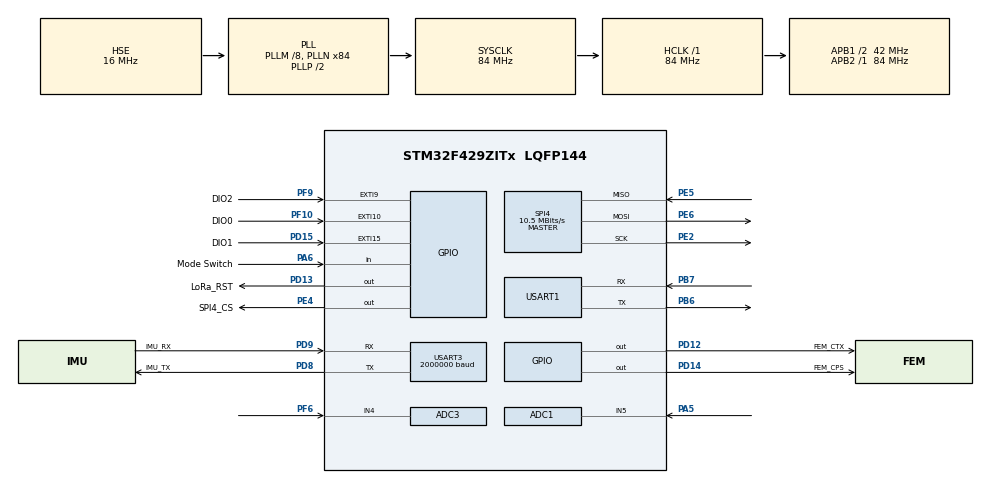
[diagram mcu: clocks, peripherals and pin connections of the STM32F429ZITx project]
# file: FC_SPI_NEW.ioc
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ADC1.Channel-1\#ChannelRegularConversion=ADC_CHANNEL_5
ADC1.ContinuousConvMode=ENABLE
ADC1.NbrOfConversionFlag=1
ADC1.Rank-1\#ChannelRegularConversion=1
ADC1.SamplingTime-1\#ChannelRegularConversion=ADC_SAMPLETIME_3CYCLES
ADC1.master=1
ADC3.Channel-0\#ChannelRegularConversion=ADC_CHANNEL_4
ADC3.NbrOfConversionFlag=1
ADC3.Rank-0\#ChannelRegularConversion=1
ADC3.Resolution=ADC_RESOLUTION_10B
ADC3.SamplingTime-0\#ChannelRegularConversion=ADC_SAMPLETIME_3CYCLES
Dma.Request0=USART3_RX
Dma.Request1=USART3_TX
Dma.Request2=USART1_RX
Dma.Request3=USART1_TX
Dma.Request4=SPI4_RX
Dma.Request5=SPI4_TX
Dma.SPI4_RX.4.Direction=DMA_PERIPH_TO_MEMORY
Dma.SPI4_RX.4.FIFOMode=DMA_FIFOMODE_DISABLE
Dma.SPI4_RX.4.Instance=DMA2_Stream0
Dma.SPI4_RX.4.MemDataAlignment=DMA_MDATAALIGN_BYTE
Dma.SPI4_RX.4.MemInc=DMA_MINC_ENABLE
Dma.SPI4_RX.4.Mode=DMA_NORMAL
Dma.SPI4_RX.4.PeriphDataAlignment=DMA_PDATAALIGN_BYTE
Dma.SPI4_RX.4.PeriphInc=DMA_PINC_DISABLE
Dma.SPI4_RX.4.Priority=DMA_PRIORITY_LOW
Dma.SPI4_TX.5.Direction=DMA_MEMORY_TO_PERIPH
Dma.SPI4_TX.5.FIFOMode=DMA_FIFOMODE_DISABLE
Dma.SPI4_TX.5.Instance=DMA2_Stream1
Dma.SPI4_TX.5.MemDataAlignment=DMA_MDATAALIGN_BYTE
Dma.SPI4_TX.5.MemInc=DMA_MINC_ENABLE
Dma.SPI4_TX.5.Mode=DMA_NORMAL
Dma.SPI4_TX.5.PeriphDataAlignment=DMA_PDATAALIGN_BYTE
Dma.SPI4_TX.5.PeriphInc=DMA_PINC_DISABLE
Dma.SPI4_TX.5.Priority=DMA_PRIORITY_HIGH
Dma.USART1_RX.2.Direction=DMA_PERIPH_TO_MEMORY
Dma.USART1_RX.2.FIFOMode=DMA_FIFOMODE_DISABLE
Dma.USART1_RX.2.Instance=DMA2_Stream2
Dma.USART1_RX.2.MemDataAlignment=DMA_MDATAALIGN_BYTE
Dma.USART1_RX.2.MemInc=DMA_MINC_ENABLE
Dma.USART1_RX.2.Mode=DMA_NORMAL
Dma.USART1_RX.2.PeriphDataAlignment=DMA_PDATAALIGN_BYTE
Dma.USART1_RX.2.PeriphInc=DMA_PINC_DISABLE
Dma.USART1_RX.2.Priority=DMA_PRIORITY_LOW
Dma.USART1_TX.3.Direction=DMA_MEMORY_TO_PERIPH
Dma.USART1_TX.3.FIFOMode=DMA_FIFOMODE_DISABLE
Dma.USART1_TX.3.Instance=DMA2_Stream7
Dma.USART1_TX.3.MemDataAlignment=DMA_MDATAALIGN_BYTE
Dma.USART1_TX.3.MemInc=DMA_MINC_ENABLE
Dma.USART1_TX.3.Mode=DMA_NORMAL
Dma.USART1_TX.3.PeriphDataAlignment=DMA_PDATAALIGN_BYTE
Dma.USART1_TX.3.PeriphInc=DMA_PINC_DISABLE
Dma.USART1_TX.3.Priority=DMA_PRIORITY_LOW
Dma.USART3_RX.0.Direction=DMA_PERIPH_TO_MEMORY
Dma.USART3_RX.0.FIFOMode=DMA_FIFOMODE_DISABLE
Dma.USART3_RX.0.Instance=DMA1_Stream1
Dma.USART3_RX.0.MemDataAlignment=DMA_MDATAALIGN_BYTE
Dma.USART3_RX.0.MemInc=DMA_MINC_ENABLE
Dma.USART3_RX.0.Mode=DMA_NORMAL
Dma.USART3_RX.0.PeriphDataAlignment=DMA_PDATAALIGN_BYTE
Dma.USART3_RX.0.PeriphInc=DMA_PINC_DISABLE
Dma.USART3_RX.0.Priority=DMA_PRIORITY_LOW
Dma.USART3_TX.1.Direction=DMA_MEMORY_TO_PERIPH
Dma.USART3_TX.1.FIFOMode=DMA_FIFOMODE_DISABLE
Dma.USART3_TX.1.Instance=DMA1_Stream3
Dma.USART3_TX.1.MemDataAlignment=DMA_MDATAALIGN_BYTE
Dma.USART3_TX.1.MemInc=DMA_MINC_ENABLE
Dma.USART3_TX.1.Mode=DMA_NORMAL
Dma.USART3_TX.1.PeriphDataAlignment=DMA_PDATAALIGN_BYTE
Dma.USART3_TX.1.PeriphInc=DMA_PINC_DISABLE
Dma.USART3_TX.1.Priority=DMA_PRIORITY_LOW
Mcu.Family=STM32F4
Mcu.Name=STM32F429ZITx
Mcu.Package=LQFP144
NVIC.DMA1_Stream1_IRQn=true\:0\:0\:false\:false\:true\:false\:true\:true
NVIC.DMA1_Stream3_IRQn=true\:0\:0\:false\:false\:true\:false\:true\:true
NVIC.DMA2_Stream0_IRQn=true\:0\:0\:false\:false\:true\:false\:true\:true
NVIC.DMA2_Stream1_IRQn=true\:0\:0\:false\:false\:true\:false\:true\:true
NVIC.DMA2_Stream2_IRQn=true\:0\:0\:false\:false\:true\:false\:true\:true
NVIC.DMA2_Stream7_IRQn=true\:0\:0\:false\:false\:true\:false\:true\:true
NVIC.PriorityGroup=NVIC_PRIORITYGROUP_4
NVIC.SPI4_IRQn=true\:0\:0\:false\:false\:true\:true\:true\:true
NVIC.USART1_IRQn=true\:0\:0\:false\:false\:true\:true\:true\:true
NVIC.USART3_IRQn=true\:0\:0\:false\:false\:true\:true\:true\:true
PA13.Mode=Serial_Wire
PA13.Signal=SYS_JTMS-SWDIO
PA14.Mode=Serial_Wire
PA14.Signal=SYS_JTCK-SWCLK
PA5.Signal=ADCx_IN5
PA6.GPIO_Label=Mode Switch
PA6.GPIO_PuPd=GPIO_PULLUP
PA6.Signal=GPIO_Input
PB5.Signal=SPI1_MOSI
PB6.Mode=Asynchronous
PB6.Signal=USART1_TX
PB7.Mode=Asynchronous
PB7.Signal=USART1_RX
PC14/OSC32_IN.Mode=LSE-External-Oscillator
PC14/OSC32_IN.Signal=RCC_OSC32_IN
PC15/OSC32_OUT.Mode=LSE-External-Oscillator
PC15/OSC32_OUT.Signal=RCC_OSC32_OUT
PD12.GPIO_Label=FEM_CTX
PD12.Signal=GPIO_Output
PD13.GPIO_Label=LoRa_RST
PD13.GPIO_Speed=GPIO_SPEED_FREQ_LOW
PD13.PinState=GPIO_PIN_SET
PD13.Signal=GPIO_Output
PD14.GPIO_Label=FEM_CPS
PD14.Signal=GPIO_Output
PD15.GPIO_Label=DIO1
PD15.Signal=GPXTI15
PD8.GPIO_Label=IMU_TX
PD8.Mode=Asynchronous
PD8.Signal=USART3_TX
PD9.GPIO_Label=IMU_RX
PD9.Mode=Asynchronous
PD9.Signal=USART3_RX
PE2.Mode=Full_Duplex_Master
PE2.Signal=SPI4_SCK
PE4.GPIO_Label=SPI4_CS
PE4.PinState=GPIO_PIN_SET
PE4.Signal=GPIO_Output
PE5.Mode=Full_Duplex_Master
PE5.Signal=SPI4_MISO
PE6.Mode=Full_Duplex_Master
PE6.Signal=SPI4_MOSI
PF10.GPIO_Label=DIO0
PF10.Signal=GPXTI10
PF6.Signal=SharedAnalog_PF6
PF9.GPIO_Label=DIO2
PF9.Signal=GPXTI9
PH0/OSC_IN.Mode=HSE-External-Oscillator
PH0/OSC_IN.Signal=RCC_OSC_IN
PH1/OSC_OUT.Mode=HSE-External-Oscillator
PH1/OSC_OUT.Signal=RCC_OSC_OUT
ProjectManager.HeapSize=0x200
ProjectManager.StackSize=0x400
ProjectManager.TargetToolchain=STM32CubeIDE
RCC.48MHZClocksFreq_Value=42000000
RCC.AHBFreq_Value=84000000
RCC.APB1CLKDivider=RCC_HCLK_DIV2
RCC.APB1Freq_Value=42000000
RCC.APB1TimFreq_Value=84000000
RCC.APB2Freq_Value=84000000
RCC.APB2TimFreq_Value=84000000
RCC.CortexFreq_Value=84000000
RCC.HCLKFreq_Value=84000000
RCC.HSE_VALUE=16000000
RCC.HSI_VALUE=16000000
RCC.PLLM=8
RCC.PLLN=84
RCC.PLLSourceVirtual=RCC_PLLSOURCE_HSE
RCC.RCC_RTC_Clock_Source=RCC_RTCCLKSOURCE_LSE
RCC.RCC_RTC_Clock_SourceVirtual=RCC_RTCCLKSOURCE_LSE
RCC.SYSCLKFreq_VALUE=84000000
RCC.SYSCLKSource=RCC_SYSCLKSOURCE_PLLCLK
RCC.VCOOutputFreq_Value=168000000
SH.ADCx_IN5.0=ADC1_IN5,IN5
SH.SharedAnalog_PF6.0=GPIO_Analog
SH.SharedAnalog_PF6.1=ADC3_IN4,IN4
SPI4.BaudRatePrescaler=SPI_BAUDRATEPRESCALER_8
SPI4.CalculateBaudRate=10.5 MBits/s
SPI4.Direction=SPI_DIRECTION_2LINES
SPI4.Mode=SPI_MODE_MASTER
SPI4.VirtualType=VM_MASTER
USART1.VirtualMode=VM_ASYNC
USART3.BaudRate=2000000
USART3.VirtualMode=VM_ASYNC
VP_RTC_VS_RTC_Activate.Mode=RTC_Enabled
VP_RTC_VS_RTC_Calendar.Mode=RTC_Calendar
board=custom

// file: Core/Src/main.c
/* USER CODE BEGIN Header */
/**
 ******************************************************************************
 * @file           : main.c
 * @brief          : Main program body
 ******************************************************************************
 * @attention
 *
 * Copyright (c) 2023 STMicroelectronics.
 * All rights reserved.
 *
 * This software is licensed under terms that can be found in the LICENSE file
 * in the root directory of this software component.
 * If no LICENSE file comes with this software, it is provided AS-IS.
 *
 ******************************************************************************
 */
/* USER CODE END Header */
#include "main.h"
#include "adc.h"
#include "dma.h"
#include "rtc.h"
#include "spi.h"
#include "usart.h"
#include "gpio.h"

/* USER CODE BEGIN PD */

extern UART_HandleTypeDef huart1;
extern DMA_HandleTypeDef hdma_usart1_rx;
extern DMA_HandleTypeDef hdma_usart1_tx;
extern UART_HandleTypeDef huart3;
extern DMA_HandleTypeDef hdma_usart3_rx;
extern DMA_HandleTypeDef hdma_usart3_tx;

#define EXT_uart huart1
#define EXT_DMA_RX hdma_usart1_rx
#define EXT_DMA_TX hdma_usart1_tx
#define IMU_uart huart3
#define IMU_DMA_RX hdma_usart3_rx
#define IMU_DMA_TX hdma_usart3_tx

extern RTC_HandleTypeDef hrtc;

#ifdef __GNUC__
#define PUTCHAR_PROTOTYPE int __io_putchar(int ch)
#else
#define PUTCHAR_PROTOTYPE int fputc(int ch, FILE *f)
#endif /* __GNUC__ */

/* USER CODE END PD */

/* USER CODE BEGIN PV */

PUTCHAR_PROTOTYPE {
	HAL_UART_Transmit(&EXT_uart, (uint8_t*) &ch, 1, 0xFFFF);
//	HAL_UART_Transmit_DMA(&EXT_DMA_TX, (uint8_t *)&ch, 1);
	return ch;
}

RTC_DateTypeDef GetDate;
RTC_TimeTypeDef GetTime;

uint8_t check_ver;
uint8_t addrval;
bool testvar;
bool testvar2;
uint32_t costtime;
LoRa myLoRa;
float testfloat;

extern IMU imu;

uint16_t data_counter;
uint8_t data_hour, data_min, data_sec, data_subSec;
float data_PA_temp;

/* USER CODE END PV */

void SystemClock_Config(void);
/* USER CODE BEGIN PFP */

float hex2float(uint8_t *hexNum);

#define EXT_BUFFER_SIZE 1024
uint8_t EXT_buffer[EXT_BUFFER_SIZE];
bool EXT_got_data;
uint16_t EXT_data_Size;

extern IMU imu;

void HAL_UARTEx_RxEventCallback(UART_HandleTypeDef *huart, uint16_t Size) {
	IMU_UART_CB(huart, Size);

	if (huart->Instance == USART1) {
		EXT_got_data = true;
		EXT_data_Size = Size;

		HAL_UARTEx_ReceiveToIdle_DMA(&EXT_uart, EXT_buffer, EXT_BUFFER_SIZE);
		__HAL_DMA_DISABLE_IT(&hdma_usart1_rx, DMA_IT_HT);
	}

}

/* USER CODE END PFP */

/* USER CODE BEGIN 0 */

typedef struct {
	uint8_t datas[1024];
	int length;
} IMU_DATA_TO_SEND_t;
//typedef struct IMU_DATA_TO_SEND IMU_DATA_TO_SEND_t;

void proc_data_4(IMU_DATA_TO_SEND_t *data, float value) {
	f32_t f32_value;
	f32_value.f = value;
	data->datas[data->length] = f32_value.u8[3];
	data->length += 1;
	data->datas[data->length] = f32_value.u8[2];
	data->length += 1;
	data->datas[data->length] = f32_value.u8[1];
	data->length += 1;
	data->datas[data->length] = f32_value.u8[0];
	data->length += 1;
}

void proc_data_2(IMU_DATA_TO_SEND_t *data, float value) {
	f16_t f16_value;
	f32_t temp;
	temp.f = value;
	f32_to_f16(&temp, &f16_value);
	data->datas[data->length] = f16_value.u8[1];
	data->length += 1;
	data->datas[data->length] = f16_value.u8[0];
	data->length += 1;
}

void proc_data_2_uint16(IMU_DATA_TO_SEND_t *data, uint16_t value) {
	f16_t temp;
	temp.u16 = value;
	data->datas[data->length] = temp.u8[1];
	data->length += 1;
	data->datas[data->length] = temp.u8[0];
	data->length += 1;
}

void proc_data_1_uint8(IMU_DATA_TO_SEND_t *data, uint8_t value) {
	data->datas[data->length] = value;
	data->length += 1;
}

void imu_data_conv_config(IMU *imu, IMU_DATA_TO_SEND_t *out) {
	out->length = 0;
	proc_data_1_uint8(out, data_hour);
	proc_data_1_uint8(out, data_min);
	proc_data_1_uint8(out, data_sec);
	proc_data_1_uint8(out, data_subSec);
	proc_data_2_uint16(out, data_counter);
	proc_data_2(out, imu->temp);
	proc_data_4(out, imu->quaternionWXYZ[0]);
	proc_data_4(out, imu->quaternionWXYZ[1]);
	proc_data_4(out, imu->quaternionWXYZ[2]);
	proc_data_4(out, imu->quaternionWXYZ[3]);
	proc_data_2(out, imu->rateOfTurnXYZ[0]);
	proc_data_2(out, imu->rateOfTurnXYZ[1]);
	proc_data_2(out, imu->rateOfTurnXYZ[2]);
	proc_data_2(out, imu->freeAccelerationXYZ[0]);
	proc_data_2(out, imu->freeAccelerationXYZ[1]);
	proc_data_2(out, imu->freeAccelerationXYZ[2]);
	proc_data_2(out, imu->accelerationXYZ[0]);
	proc_data_2(out, imu->accelerationXYZ[1]);
	proc_data_2(out, imu->accelerationXYZ[2]);
	proc_data_2(out, imu->positionEcefXYZ[0]);
	proc_data_2(out, imu->positionEcefXYZ[1]);
	proc_data_2(out, imu->positionEcefXYZ[2]);
	proc_data_4(out, imu->latitude);
	proc_data_4(out, imu->longitude);
	proc_data_4(out, imu->altitudeEllip);
	proc_data_2(out, imu->velocityXYZ[0]);
	proc_data_2(out, imu->velocityXYZ[1]);
	proc_data_2(out, imu->velocityXYZ[2]);
	proc_data_4(out, data_PA_temp);

}
void imu_data_conv_onFly(IMU *imu, IMU_DATA_TO_SEND_t *out) {
	out->length = 0;
	proc_data_1_uint8(out, data_hour);
	proc_data_1_uint8(out, data_min);
	proc_data_1_uint8(out, data_sec);
	proc_data_1_uint8(out, data_subSec);
	proc_data_2_uint16(out, data_counter);
	proc_data_4(out, imu->quaternionWXYZ[0]);
	proc_data_4(out, imu->quaternionWXYZ[1]);
	proc_data_4(out, imu->quaternionWXYZ[2]);
	proc_data_4(out, imu->quaternionWXYZ[3]);
	proc_data_2(out, imu->rateOfTurnXYZ[0]);
	proc_data_2(out, imu->rateOfTurnXYZ[1]);
	proc_data_2(out, imu->rateOfTurnXYZ[2]);
	proc_data_2(out, imu->freeAccelerationXYZ[0]);
	proc_data_2(out, imu->freeAccelerationXYZ[1]);
	proc_data_2(out, imu->freeAccelerationXYZ[2]);
	proc_data_2(out, imu->positionEcefXYZ[0]);
	proc_data_2(out, imu->positionEcefXYZ[1]);
	proc_data_2(out, imu->positionEcefXYZ[2]);
	proc_data_2(out, imu->velocityXYZ[0]);
	proc_data_2(out, imu->velocityXYZ[1]);
	proc_data_2(out, imu->velocityXYZ[2]);

}

GPIO_PinState modeSwitch = 0, prevModeSwitch = 0;
typedef enum flymode {
	config, onFly
} flyMode;
flyMode curFlyMode;
uint32_t flyModeDebounce = 0;

bool lora_recv_open = false;

/* USER CODE END 0 */

int main(void)
{

  /* MCU Configuration--------------------------------------------------------*/

  /* Reset of all peripherals, Initializes the Flash interface and the Systick. */
  HAL_Init();

  /* USER CODE BEGIN Init */

	HAL_UARTEx_ReceiveToIdle_DMA(&EXT_uart, EXT_buffer, EXT_BUFFER_SIZE);
	__HAL_DMA_DISABLE_IT(&EXT_DMA_RX, DMA_IT_HT);

  /* USER CODE END Init */

  /* Configure the system clock */
  SystemClock_Config();

  /* Initialize all configured peripherals */
  MX_GPIO_Init();
  MX_DMA_Init();
  MX_USART1_UART_Init();
  MX_USART3_UART_Init();
  MX_SPI4_Init();
  MX_RTC_Init();
  MX_ADC3_Init();
  MX_ADC1_Init();
  /* USER CODE BEGIN 2 */

	/*Lora init==============================================================*/
	myLoRa = newLoRa();

	myLoRa.CS_port = SPI4_CS_GPIO_Port;
	myLoRa.CS_pin = SPI4_CS_Pin;
	myLoRa.reset_port = LoRa_RST_GPIO_Port;
	myLoRa.reset_pin = LoRa_RST_Pin;
	myLoRa.DIO0_port = DIO0_GPIO_Port;
	myLoRa.DIO0_pin = DIO0_Pin;
	myLoRa.hSPIx = &hspi4;
	myLoRa.frequency = 433;             	// default = 433 		MHz
	myLoRa.spredingFactor = SF_7;           // default = SF_7
	myLoRa.bandWidth = BW_125KHz;       	// default = BW_125	KHz
	myLoRa.crcRate = CR_4_5;          		// default = CR_4_5
	myLoRa.power = POWER_20db;      		// default = 20db
	myLoRa.overCurrentProtection = 100;     // default = 100 		mA
	myLoRa.preamble = 10;              		// default = 8;

	uint16_t LoRa_status = LoRa_init(&myLoRa);
	if (LoRa_status == LORA_OK) {            //initialize LoRa configuration
		printf("LoRa is running... \n");
	} else {
		printf("LoRa failed :( \n Error code: %d \n", LoRa_status);
	}
	LoRa_setLowDaraRateOptimization(&myLoRa, 1);
	LoRa_startReceiving(&myLoRa);
	uint8_t received_data[10];
	uint8_t packet_size = 0;
	/*Lora init end===========================================================*/

	IMU_Init();

	/*temp init ##############################################################*/
	uint32_t ADC_read;
	int ADC_resolution=12;
	int Vin_temp = 3300;
	float Vout;//Vout,Vin_temp:in mV
	float Vbias = 500;//TMP36 0 degree bias=500mV
	float OutV_Temp_ratio=10;//OutV:mV,Temp:Celsius
	float data_PA_temp;
	/*temp init end###########################################################*/

  /* USER CODE END 2 */

  /* Infinite loop */
  /* USER CODE BEGIN WHILE */
	uint32_t timer = HAL_GetTick();
	uint32_t loopRunTime = 0;
	bool GPS_no_calied = true;

	IMU_DATA_TO_SEND_t data2Lora;

	data_counter = 0;

	printf("init finish!!!!!!!!!!!!\n");
	while (1) {

    /* USER CODE END WHILE */

    /* USER CODE BEGIN 3 */

		//IMU data gathering
		IMU_process_data();

		IMU_State_mechine();

		/* Get the RTC current Time */
		HAL_RTC_GetTime(&hrtc, &GetTime, RTC_FORMAT_BIN);
		/* Get the RTC current Date */
		HAL_RTC_GetDate(&hrtc, &GetDate, RTC_FORMAT_BIN);

		//Calibrate date ,only run once
		if (	(imu.myGnssData.numSV >= 4)
				&& ((GetDate.Year + 2000) != imu.myGnssData.year)
				&& (GPS_no_calied)) {
			printf("Reset RTC timer\n");
			RTC_TimeTypeDef IMU_time;
			RTC_DateTypeDef IMU_date;

			IMU_date.Year = imu.myGnssData.year - 2000;
			IMU_date.Month = imu.myGnssData.month;
			IMU_date.Date = imu.myGnssData.day;
			IMU_time.Hours = imu.myGnssData.hour;
			IMU_time.Minutes = imu.myGnssData.minute;
			IMU_time.Seconds = imu.myGnssData.second;

			IMU_date.Year = imu.myGnssData.year - 2000;
			IMU_date.Month = imu.myGnssData.month;
			IMU_date.Date = imu.myGnssData.day;
			IMU_time.Hours = imu.myGnssData.hour;
			IMU_time.Minutes = imu.myGnssData.minute;
			IMU_time.Seconds = imu.myGnssData.second;

			HAL_RTC_SetTime(&hrtc, &IMU_time, RTC_FORMAT_BIN);
			HAL_RTC_SetDate(&hrtc, &IMU_date, RTC_FORMAT_BIN);

			GPS_no_calied = false;
		}

		/*check fly mode switch*/
		modeSwitch = HAL_GPIO_ReadPin(Mode_Switch_GPIO_Port,
		Mode_Switch_Pin);
		if (modeSwitch == GPIO_PIN_RESET && prevModeSwitch == GPIO_PIN_SET
				&& HAL_GetTick() > flyModeDebounce) {
			flyModeDebounce = HAL_GetTick() + 1000;
			if (curFlyMode == config) {
				curFlyMode = onFly;
				printf("fly mode now --> on fly\n");
			} else {
				curFlyMode = config;
				printf("fly mode now --> config\n");
			}
		}
		prevModeSwitch = modeSwitch;

		//LoRa_receive()
		HAL_GPIO_WritePin(FEM_CPS_GPIO_Port, FEM_CPS_Pin, GPIO_PIN_SET); //low frequency port switch, RESET for transmit, SET for receive
		packet_size = LoRa_receive(&myLoRa, received_data, 10);
		if (packet_size != 0) {
			printf("LoRa get: %s", received_data);
		}

		/*temp sensor*/
		HAL_ADC_Start(&hadc1);
		ADC_read = HAL_ADC_GetValue(&hadc1);
		Vout = ADC_read/(pow(2,ADC_resolution)-1)*Vin_temp;
		data_PA_temp = (Vout-Vbias)/OutV_Temp_ratio;//temp:in Celsius
		printf("temp: %f\n", data_PA_temp);

		//====================================================================
		if (HAL_GetTick() - timer > 333) {

			data_hour = GetTime.Hours;
			data_min = GetTime.Minutes;
			data_sec = GetTime.Seconds;
			data_subSec = ((float) (255 - GetTime.SubSeconds)) * 1.
					/ ((float) (GetTime.SecondFraction + 1)) * 100;

			//packing data from IMU to send via Lora
			if (curFlyMode == config) {
				imu_data_conv_config(&imu, &data2Lora);
			} else if (curFlyMode == onFly) {
				imu_data_conv_onFly(&imu, &data2Lora);
			}

			//LoRa_transmit()
#if 1
			HAL_GPIO_WritePin(FEM_CPS_GPIO_Port, FEM_CPS_Pin, GPIO_PIN_RESET);
			uint8_t err = LoRa_transmit(&myLoRa, data2Lora.datas, data2Lora.length, TRANSMIT_TIMEOUT);
			if (err == 0) {
				printf("LoRa_transmit timed out\n");
			} else {
				printf("LoRa_transmit seccessed\n");
				HAL_Delay(100);
			}
			HAL_GPIO_WritePin(FEM_CPS_GPIO_Port, FEM_CPS_Pin, GPIO_PIN_SET);
#endif

			loopRunTime = HAL_GetTick() - loopRunTime;
//			printf("acc:%f,%f,%f,%f,%f,%d,%d,%d\n", imu.quaternionWXYZ[0],
//					imu.quaternionWXYZ[1], imu.quaternionWXYZ[2],
//					imu.quaternionWXYZ[3], data_PA_temp, data2Lora.length,
//					loopRunTime, data_counter);

			timer = HAL_GetTick();
			data_counter += 1;
			loopRunTime = HAL_GetTick();
		}
	}
  /* USER CODE END 3 */
}

void SystemClock_Config(void)
{
  RCC_OscInitTypeDef RCC_OscInitStruct = {0};
  RCC_ClkInitTypeDef RCC_ClkInitStruct = {0};

  /** Configure the main internal regulator output voltage
  */
  __HAL_RCC_PWR_CLK_ENABLE();
  __HAL_PWR_VOLTAGESCALING_CONFIG(PWR_REGULATOR_VOLTAGE_SCALE3);

  /** Initializes the RCC Oscillators according to the specified parameters
  * in the RCC_OscInitTypeDef structure.
  */
  RCC_OscInitStruct.OscillatorType = RCC_OSCILLATORTYPE_HSE|RCC_OSCILLATORTYPE_LSE;
  RCC_OscInitStruct.HSEState = RCC_HSE_ON;
  RCC_OscInitStruct.LSEState = RCC_LSE_ON;
  RCC_OscInitStruct.PLL.PLLState = RCC_PLL_ON;
  RCC_OscInitStruct.PLL.PLLSource = RCC_PLLSOURCE_HSE;
  RCC_OscInitStruct.PLL.PLLM = 8;
  RCC_OscInitStruct.PLL.PLLN = 84;
  RCC_OscInitStruct.PLL.PLLP = RCC_PLLP_DIV2;
  RCC_OscInitStruct.PLL.PLLQ = 4;
  if (HAL_RCC_OscConfig(&RCC_OscInitStruct) != HAL_OK)
  {
    Error_Handler();
  }

  /** Initializes the CPU, AHB and APB buses clocks
  */
  RCC_ClkInitStruct.ClockType = RCC_CLOCKTYPE_HCLK|RCC_CLOCKTYPE_SYSCLK
                              |RCC_CLOCKTYPE_PCLK1|RCC_CLOCKTYPE_PCLK2;
  RCC_ClkInitStruct.SYSCLKSource = RCC_SYSCLKSOURCE_PLLCLK;
  RCC_ClkInitStruct.AHBCLKDivider = RCC_SYSCLK_DIV1;
  RCC_ClkInitStruct.APB1CLKDivider = RCC_HCLK_DIV2;
  RCC_ClkInitStruct.APB2CLKDivider = RCC_HCLK_DIV1;

  if (HAL_RCC_ClockConfig(&RCC_ClkInitStruct, FLASH_LATENCY_2) != HAL_OK)
  {
    Error_Handler();
  }
}

/* USER CODE BEGIN 4 */
float hex2float(uint8_t *hexNum) {
	union {
		char conv_char[4];
		float output_float;
	} uni;
	uni.conv_char[3] = (char) (hexNum[3]);
	uni.conv_char[2] = (char) (hexNum[2]);
	uni.conv_char[1] = (char) (hexNum[1]);
	uni.conv_char[0] = (char) (hexNum[0]);

	return uni.output_float;
}
/* USER CODE END 4 */

void Error_Handler(void)
{
	__disable_irq();
	while (1) {
	}
}
